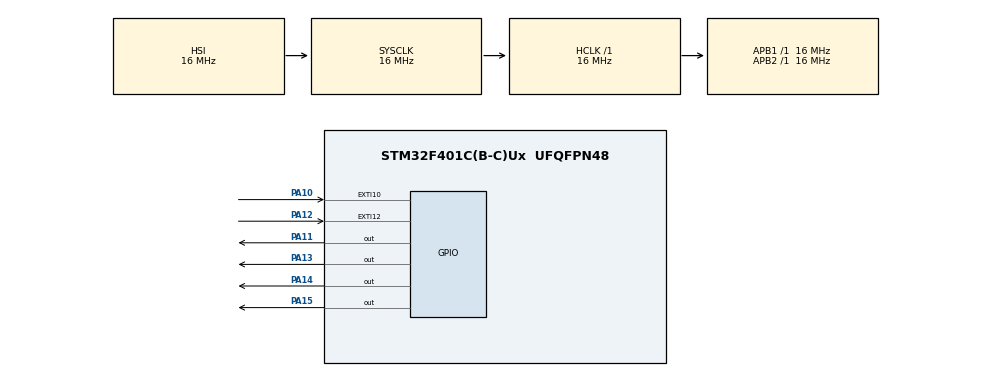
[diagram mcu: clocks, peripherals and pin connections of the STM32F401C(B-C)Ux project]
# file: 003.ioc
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Mcu.Family=STM32F4
Mcu.Name=STM32F401C(B-C)Ux
Mcu.Package=UFQFPN48
NVIC.EXTI15_10_IRQn=true\:0\:0\:false\:true\:true\:1\:true\:true\:true
NVIC.PriorityGroup=NVIC_PRIORITYGROUP_4
PA10.Signal=GPXTI10
PA11.Signal=GPIO_Output
PA12.Signal=GPXTI12
PA13.Signal=GPIO_Output
PA14.Signal=GPIO_Output
PA15.Signal=GPIO_Output
ProjectManager.HeapSize=0x200
ProjectManager.StackSize=0x400
ProjectManager.TargetToolchain=STM32CubeIDE
RCC.AHBFreq_Value=16000000
RCC.APB1Freq_Value=16000000
RCC.APB2Freq_Value=16000000
RCC.CortexFreq_Value=16000000
RCC.HSE_VALUE=25000000
RCC.HSI_VALUE=16000000
RCC.LSE_VALUE=32768
RCC.SYSCLKFreq_VALUE=16000000
RCC.VCOOutputFreq_Value=192000000
board=custom

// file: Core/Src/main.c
/* USER CODE BEGIN Header */
/**
  ******************************************************************************
  * @file           : main.c
  * @brief          : Main program body
  ******************************************************************************
  * @attention
  *
  * Copyright (c) 2022 STMicroelectronics.
  * All rights reserved.
  *
  * This software is licensed under terms that can be found in the LICENSE file
  * in the root directory of this software component.
  * If no LICENSE file comes with this software, it is provided AS-IS.
  *
  ******************************************************************************
  */
/* USER CODE END Header */
#include "main.h"
#include "gpio.h"

/* USER CODE BEGIN PV */
	int s = 0;

/* USER CODE END PV */

void SystemClock_Config(void);
static void MX_NVIC_Init(void);

int main(void)
{

  /* MCU Configuration--------------------------------------------------------*/

  /* Reset of all peripherals, Initializes the Flash interface and the Systick. */
  HAL_Init();

  /* Configure the system clock */
  SystemClock_Config();

  /* Initialize all configured peripherals */
  MX_GPIO_Init();

  /* Initialize interrupts */
  MX_NVIC_Init();

  /* Infinite loop */
  while (1)
  {

  }
}

void SystemClock_Config(void)
{
  RCC_OscInitTypeDef RCC_OscInitStruct = {0};
  RCC_ClkInitTypeDef RCC_ClkInitStruct = {0};

  /** Configure the main internal regulator output voltage
  */
  __HAL_RCC_PWR_CLK_ENABLE();
  __HAL_PWR_VOLTAGESCALING_CONFIG(PWR_REGULATOR_VOLTAGE_SCALE2);

  /** Initializes the RCC Oscillators according to the specified parameters
  * in the RCC_OscInitTypeDef structure.
  */
  RCC_OscInitStruct.OscillatorType = RCC_OSCILLATORTYPE_HSI;
  RCC_OscInitStruct.HSIState = RCC_HSI_ON;
  RCC_OscInitStruct.HSICalibrationValue = RCC_HSICALIBRATION_DEFAULT;
  RCC_OscInitStruct.PLL.PLLState = RCC_PLL_NONE;
  if (HAL_RCC_OscConfig(&RCC_OscInitStruct) != HAL_OK)
  {
    Error_Handler();
  }

  /** Initializes the CPU, AHB and APB buses clocks
  */
  RCC_ClkInitStruct.ClockType = RCC_CLOCKTYPE_HCLK|RCC_CLOCKTYPE_SYSCLK
                              |RCC_CLOCKTYPE_PCLK1|RCC_CLOCKTYPE_PCLK2;
  RCC_ClkInitStruct.SYSCLKSource = RCC_SYSCLKSOURCE_HSI;
  RCC_ClkInitStruct.AHBCLKDivider = RCC_SYSCLK_DIV1;
  RCC_ClkInitStruct.APB1CLKDivider = RCC_HCLK_DIV1;
  RCC_ClkInitStruct.APB2CLKDivider = RCC_HCLK_DIV1;

  if (HAL_RCC_ClockConfig(&RCC_ClkInitStruct, FLASH_LATENCY_0) != HAL_OK)
  {
    Error_Handler();
  }
}

/**
  * @brief NVIC Configuration.
  * @retval None
  */
static void MX_NVIC_Init(void)
{
  /* EXTI15_10_IRQn interrupt configuration */
  HAL_NVIC_SetPriority(EXTI15_10_IRQn, 0, 0);
  HAL_NVIC_EnableIRQ(EXTI15_10_IRQn);
}

/* USER CODE BEGIN 4 */
void HAL_GPIO_EXTI_Callback(uint16_t GPIO_Pin)
{
	if(HAL_GPIO_ReadPin(GPIOA, GPIO_PIN_12) == GPIO_PIN_SET)
			s = s+1;
	if(HAL_GPIO_ReadPin(GPIOA, GPIO_PIN_10) == GPIO_PIN_SET)
			s = s-1;
	if(s<0)
		s = 0;

	if ((GPIO_Pin == GPIO_PIN_12) || (GPIO_Pin == GPIO_PIN_10))
		{
			if(s == 1)
				HAL_GPIO_TogglePin(GPIOA, GPIO_PIN_13);

			if(s == 2)
				HAL_GPIO_TogglePin(GPIOA, GPIO_PIN_14);

			if(s == 3)
				HAL_GPIO_TogglePin(GPIOA, GPIO_PIN_15);

			if(s == 4)
				HAL_GPIO_TogglePin(GPIOA, GPIO_PIN_11);

			if(s == 5)
			{
				HAL_GPIO_TogglePin(GPIOA, GPIO_PIN_13);
				HAL_GPIO_TogglePin(GPIOA, GPIO_PIN_14);
				HAL_GPIO_TogglePin(GPIOA, GPIO_PIN_15);
				HAL_GPIO_TogglePin(GPIOA, GPIO_PIN_11);
				s = 0;
			}
		}
}
/* USER CODE END 4 */

void Error_Handler(void)
{
  __disable_irq();
  while (1)
  {
  }
}
